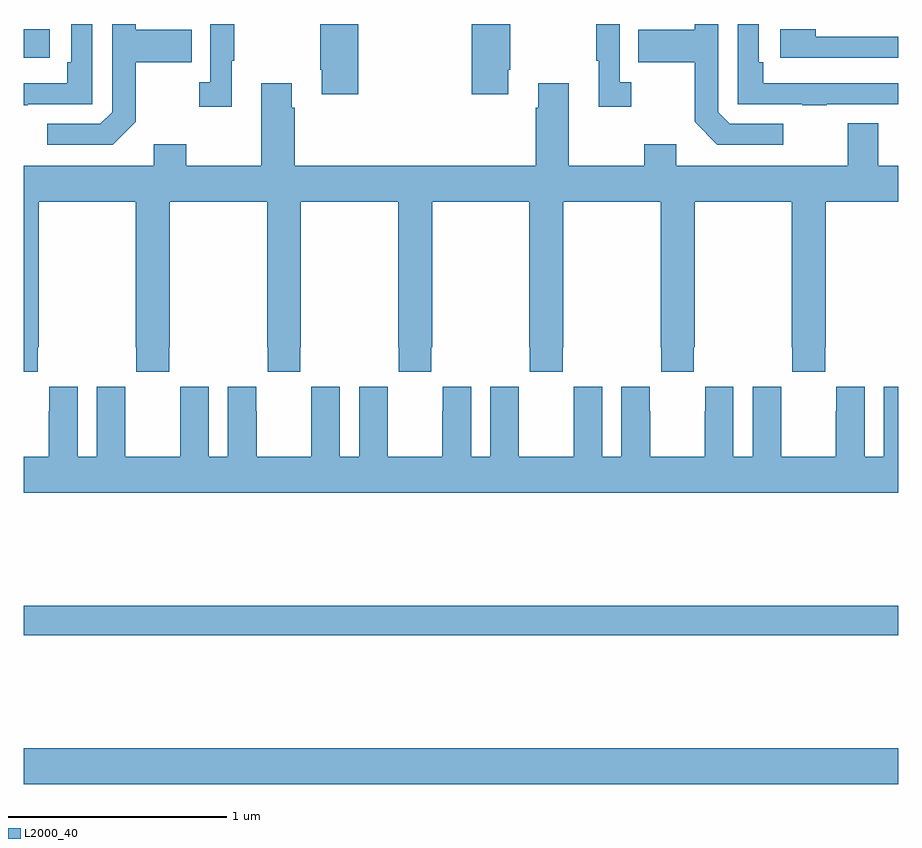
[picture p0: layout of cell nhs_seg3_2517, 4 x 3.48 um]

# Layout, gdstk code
import gdstk
lib = gdstk.Library(unit=1e-6, precision=1e-09)
def R(c, l, rs):  # rectangles x0, y0, x1, y1
    for r in rs: c.add(gdstk.rectangle(r[:2], r[2:], *l))
def P(c, l, *ps):  # polygons
    for p in ps: c.add(gdstk.Polygon(p, *l))
L2000_40 = (2000, 40)

nhs_seg3_2517 = lib.new_cell('nhs_seg3_2517')
R(nhs_seg3_2517, L2000_40, [(241,692.924,245,693.088), (241,693.604,245,693.74), (241,696.246,241.12,696.376)])
P(nhs_seg3_2517, L2000_40, [(244.673,696.033),(245,696.033),(245,696.129),(244.382,696.129),(244.382,696.226),(244.362,696.226),(244.362,696.4),(244.266,696.4),(244.266,696.033),(244.561,696.033),(244.561,696.028),(244.673,696.028)],
  [(241.019,696.033),(241.314,696.033),(241.314,696.4),(241.218,696.4),(241.218,696.226),(241.198,696.226),(241.198,696.129),(241,696.129),(241,696.028),(241.019,696.028)],
  [(243.217,696.19),(243.225,696.19),(243.225,696.4),(243.05,696.4),(243.05,696.078),(243.217,696.078)],
  [(242.531,696.4),(242.356,696.4),(242.356,696.19),(242.363,696.19),(242.363,696.078),(242.531,696.078)],
  [(244.474,695.943),(244.23,695.943),(244.176,695.997),(244.176,696.4),(244.068,696.4),(244.068,696.373),(243.811,696.373),(243.811,696.226),(244.068,696.226),(244.068,695.953),(244.173,695.847),(244.474,695.847)],
  [(243.778,696.134),(243.726,696.134),(243.726,696.4),(243.618,696.4),(243.618,696.233),(243.629,696.233),(243.629,696.021),(243.778,696.021)],
  [(241.951,696.233),(241.963,696.233),(241.963,696.4),(241.854,696.4),(241.854,696.134),(241.803,696.134),(241.803,696.021),(241.951,696.021)],
  [(241.513,695.953),(241.513,696.226),(241.769,696.226),(241.769,696.373),(241.513,696.373),(241.513,696.4),(241.404,696.4),(241.404,695.997),(241.35,695.943),(241.107,695.943),(241.107,695.847),(241.407,695.847)],
  [(245,696.342),(244.622,696.342),(244.622,696.376),(244.461,696.376),(244.461,696.246),(245,696.246)],
  [(241.065,694.921),(241.068,694.921),(241.068,695.588),(241.513,695.588),(241.513,694.921),(241.515,694.921),(241.515,694.809),(241.665,694.809),(241.665,694.921),(241.668,694.921),(241.668,695.588),(242.113,695.588),(242.113,694.921),(242.115,694.921),(242.115,694.809),(242.265,694.809),(242.265,694.921),(242.268,694.921),(242.268,695.588),(242.713,695.588),(242.713,694.921),(242.715,694.921),(242.715,694.809),(242.865,694.809),(242.865,694.921),(242.868,694.921),(242.868,695.588),(243.313,695.588),(243.313,694.921),(243.315,694.921),(243.315,694.809),(243.465,694.809),(243.465,694.921),(243.468,694.921),(243.468,695.588),(243.913,695.588),(243.913,694.921),(243.915,694.921),(243.915,694.809),(244.065,694.809),(244.065,694.921),(244.068,694.921),(244.068,695.588),(244.513,695.588),(244.513,694.921),(244.515,694.921),(244.515,694.809),(244.665,694.809),(244.665,694.921),(244.668,694.921),(244.668,695.588),(245,695.588),(245,695.752),(244.909,695.752),(244.909,695.947),(244.769,695.947),(244.769,695.752),(243.985,695.752),(243.985,695.851),(243.838,695.851),(243.838,695.752),(243.493,695.752),(243.493,696.13),(243.353,696.13),(243.353,696.017),(243.341,696.017),(243.341,695.752),(242.24,695.752),(242.24,696.017),(242.227,696.017),(242.227,696.13),(242.087,696.13),(242.087,695.752),(241.743,695.752),(241.743,695.851),(241.595,695.851),(241.595,695.752),(241,695.752),(241,694.809),(241.065,694.809)],
  [(245,694.741),(244.934,694.741),(244.934,694.42),(244.846,694.42),(244.846,694.741),(244.716,694.741),(244.716,694.628),(244.715,694.628),(244.715,694.42),(244.465,694.42),(244.465,694.628),(244.464,694.628),(244.464,694.741),(244.334,694.741),(244.334,694.42),(244.246,694.42),(244.246,694.741),(244.116,694.741),(244.116,694.628),(244.115,694.628),(244.115,694.42),(243.865,694.42),(243.865,694.628),(243.864,694.628),(243.864,694.741),(243.734,694.741),(243.734,694.42),(243.646,694.42),(243.646,694.741),(243.516,694.741),(243.516,694.628),(243.515,694.628),(243.515,694.42),(243.265,694.42),(243.265,694.628),(243.264,694.628),(243.264,694.741),(243.134,694.741),(243.134,694.42),(243.046,694.42),(243.046,694.741),(242.916,694.741),(242.916,694.628),(242.915,694.628),(242.915,694.42),(242.665,694.42),(242.665,694.628),(242.664,694.628),(242.664,694.741),(242.534,694.741),(242.534,694.42),(242.446,694.42),(242.446,694.741),(242.316,694.741),(242.316,694.628),(242.315,694.628),(242.315,694.42),(242.065,694.42),(242.065,694.628),(242.064,694.628),(242.064,694.741),(241.934,694.741),(241.934,694.42),(241.846,694.42),(241.846,694.741),(241.716,694.741),(241.716,694.628),(241.715,694.628),(241.715,694.42),(241.465,694.42),(241.465,694.628),(241.464,694.628),(241.464,694.741),(241.334,694.741),(241.334,694.42),(241.246,694.42),(241.246,694.741),(241.116,694.741),(241.116,694.628),(241.115,694.628),(241.115,694.42),(241,694.42),(241,694.256),(245,694.256)])

lib.write_gds('nhs_seg3_2517.gds')
